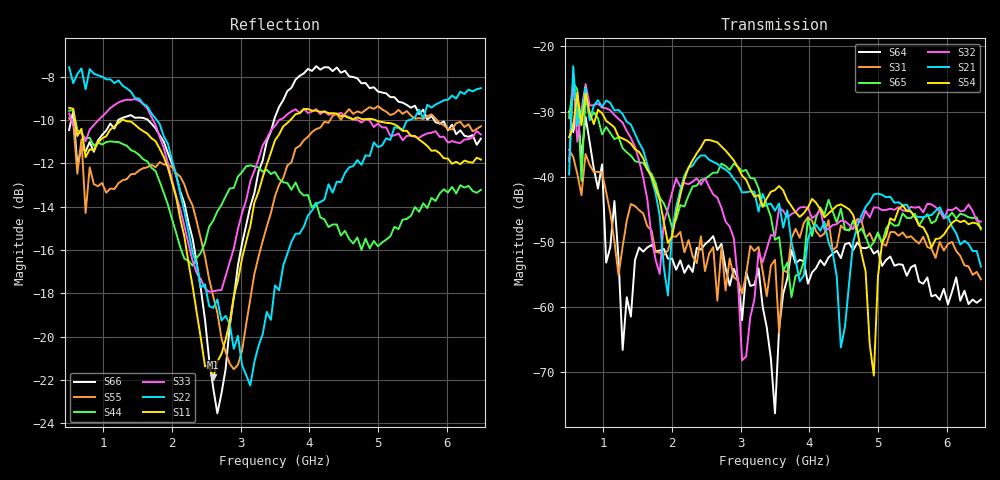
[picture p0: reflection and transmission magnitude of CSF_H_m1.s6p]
!Keysight Technologies,M9804A,MY58100912,A.14.10.03
!Date: Thursday, April 27, 2023 10:28:33
!Correction: S11(C  6-Port  )
!S12(C  6-Port  )
!S13(C  6-Port  )
!S14(C  6-Port  )
!S15(C  6-Port  )
!S16(C  6-Port  )
!S21(C  6-Port  )
!S22(C  6-Port  )
!S23(C  6-Port  )
!S24(C  6-Port  )
!S25(C  6-Port  )
!S26(C  6-Port  )
!S31(C  6-Port  )
!S32(C  6-Port  )
!S33(C  6-Port  )
!S34(C  6-Port  )
!S35(C  6-Port  )
!S36(C  6-Port  )
!S41(C  6-Port  )
!S42(C  6-Port  )
!S43(C  6-Port  )
!S44(C  6-Port  )
!S45(C  6-Port  )
!S46(C  6-Port  )
!S51(C  6-Port  )
!S52(C  6-Port  )
!S53(C  6-Port  )
!S54(C  6-Port  )
!S55(C  6-Port  )
!S56(C  6-Port  )
!S61(C  6-Port  )
!S62(C  6-Port  )
!S63(C  6-Port  )
!S64(C  6-Port  )
!S65(C  6-Port  )
!S66(C  6-Port  )
!S6P File: Measurement: :
# Hz S  RI  R 50
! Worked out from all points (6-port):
!   101 points, 500 MHz to 6.5 GHz, reference 50 ohm
!   strongest paths, dB at 500 MHz, 2 GHz, 3.5 GHz, 5 GHz, 6.5 GHz:
!     S54: -33.9, -49.2, -42.0, -55.3, -47.9
!     S21: -39.6, -48.3, -45.2, -42.6, -53.8
!     S32: -37.6, -42.4, -49.1, -44.7, -46.9
!     S65: -31.0, -47.8, -49.7, -48.5, -48.1
!     S31: -35.8, -49.2, -52.8, -48.7, -55.7
!     S64: -30.0, -52.6, -76.3, -51.3, -58.8
!   lowest |S11| = -21.9 dB at 2.6 GHz (marker M1), VSWR 1.18, Z = 42.8 + j1.97 ohm
!   |S11| at or under -10 dB: 585 MHz to 1.269 GHz (683.8 MHz wide, 73.8 % of centre); 1.302 GHz to 3.723 GHz (2.421 GHz wide, 96.3 % of centre); 4.965 GHz to end of sweep
